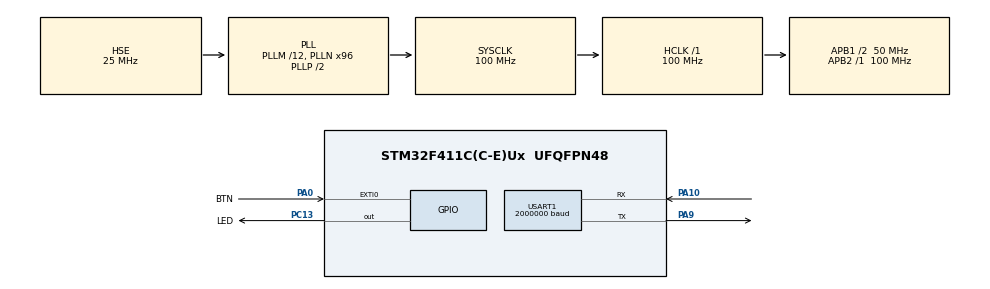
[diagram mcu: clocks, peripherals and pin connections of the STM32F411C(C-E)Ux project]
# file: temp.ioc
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ADC1.Channel-0\#ChannelRegularConversion=ADC_CHANNEL_TEMPSENSOR
ADC1.Channel-2\#ChannelRegularConversion=ADC_CHANNEL_VREFINT
ADC1.ClockPrescaler=ADC_CLOCK_SYNC_PCLK_DIV4
ADC1.ContinuousConvMode=DISABLE
ADC1.DMAContinuousRequests=ENABLE
ADC1.EOCSelection=ADC_EOC_SEQ_CONV
ADC1.ExternalTrigConv=ADC_EXTERNALTRIGCONV_T3_TRGO
ADC1.ExternalTrigConvEdge=ADC_EXTERNALTRIGCONVEDGE_FALLING
ADC1.NbrOfConversion=2
ADC1.NbrOfConversionFlag=1
ADC1.Rank-0\#ChannelRegularConversion=1
ADC1.Rank-2\#ChannelRegularConversion=2
ADC1.SamplingTime-0\#ChannelRegularConversion=ADC_SAMPLETIME_84CYCLES
ADC1.SamplingTime-2\#ChannelRegularConversion=ADC_SAMPLETIME_84CYCLES
ADC1.ScanConvMode=ENABLE
ADC1.master=1
Dma.ADC1.0.Direction=DMA_PERIPH_TO_MEMORY
Dma.ADC1.0.FIFOMode=DMA_FIFOMODE_DISABLE
Dma.ADC1.0.Instance=DMA2_Stream4
Dma.ADC1.0.MemDataAlignment=DMA_MDATAALIGN_HALFWORD
Dma.ADC1.0.MemInc=DMA_MINC_ENABLE
Dma.ADC1.0.Mode=DMA_CIRCULAR
Dma.ADC1.0.PeriphDataAlignment=DMA_PDATAALIGN_HALFWORD
Dma.ADC1.0.PeriphInc=DMA_PINC_DISABLE
Dma.ADC1.0.Priority=DMA_PRIORITY_HIGH
Dma.Request0=ADC1
Mcu.Family=STM32F4
Mcu.Name=STM32F411C(C-E)Ux
Mcu.Package=UFQFPN48
NVIC.ADC_IRQn=true\:1\:0\:true\:false\:true\:true\:true\:true
NVIC.DMA2_Stream4_IRQn=true\:0\:0\:false\:false\:true\:false\:true\:true
NVIC.EXTI0_IRQn=true\:0\:0\:false\:false\:true\:true\:true\:true
NVIC.PriorityGroup=NVIC_PRIORITYGROUP_4
NVIC.TIM3_IRQn=true\:2\:0\:true\:false\:true\:true\:true\:true
PA0-WKUP.GPIO_Label=BTN
PA0-WKUP.GPIO_ModeDefaultEXTI=GPIO_MODE_IT_FALLING
PA0-WKUP.GPIO_PuPd=GPIO_PULLUP
PA0-WKUP.Signal=GPXTI0
PA10.Mode=Asynchronous
PA10.Signal=USART1_RX
PA13.Mode=Serial_Wire
PA13.Signal=SYS_JTMS-SWDIO
PA14.Mode=Serial_Wire
PA14.Signal=SYS_JTCK-SWCLK
PA9.Mode=Asynchronous
PA9.Signal=USART1_TX
PC13-ANTI_TAMP.GPIO_Label=LED
PC13-ANTI_TAMP.GPIO_ModeDefaultOutputPP=GPIO_MODE_OUTPUT_OD
PC13-ANTI_TAMP.PinState=GPIO_PIN_SET
PC13-ANTI_TAMP.Signal=GPIO_Output
PH0\ -\ OSC_IN.Mode=HSE-External-Oscillator
PH0\ -\ OSC_IN.Signal=RCC_OSC_IN
PH1\ -\ OSC_OUT.Mode=HSE-External-Oscillator
PH1\ -\ OSC_OUT.Signal=RCC_OSC_OUT
ProjectManager.HeapSize=0x200
ProjectManager.StackSize=0x400
ProjectManager.TargetToolchain=STM32CubeIDE
RCC.48MHZClocksFreq_Value=50000000
RCC.AHBFreq_Value=100000000
RCC.APB1CLKDivider=RCC_HCLK_DIV2
RCC.APB1Freq_Value=50000000
RCC.APB1TimFreq_Value=100000000
RCC.APB2Freq_Value=100000000
RCC.APB2TimFreq_Value=100000000
RCC.CortexFreq_Value=100000000
RCC.HCLKFreq_Value=100000000
RCC.HSE_VALUE=25000000
RCC.HSI_VALUE=16000000
RCC.LSE_VALUE=32768
RCC.PLLM=12
RCC.PLLN=96
RCC.PLLSourceVirtual=RCC_PLLSOURCE_HSE
RCC.SYSCLKFreq_VALUE=100000000
RCC.SYSCLKSource=RCC_SYSCLKSOURCE_PLLCLK
RCC.VCOOutputFreq_Value=200000000
TIM3.AutoReloadPreload=TIM_AUTORELOAD_PRELOAD_ENABLE
TIM3.Period=100 - 1
TIM3.Prescaler=1000 - 1
TIM3.TIM_MasterOutputTrigger=TIM_TRGO_UPDATE
USART1.BaudRate=2000000
USART1.VirtualMode=VM_ASYNC
VP_ADC1_TempSens_Input.Mode=IN-TempSens
VP_ADC1_Vref_Input.Mode=IN-Vrefint
VP_TIM3_VS_ClockSourceINT.Mode=Internal
board=custom

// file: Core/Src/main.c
/* USER CODE BEGIN Header */
/**
 ******************************************************************************
 * @file           : main.c
 * @brief          : Main program body
 ******************************************************************************
 * @attention
 *
 * <h2><center>&copy; Copyright (c) 2025 Lars Boegild Thomsen <lbthomsen@gmail.com>
 * All rights reserved.</center></h2>
 *
 * This software component is licensed by ST under BSD 3-Clause license,
 * the "License"; You may not use this file except in compliance with the
 * License. You may obtain a copy of the License at:
 *                        opensource.org/licenses/BSD-3-Clause
 *
 ******************************************************************************
 */
/* USER CODE END Header */
#include "main.h"

/* USER CODE BEGIN PD */
#define ADC_RESOLUTION 4095
#define ADC_SAMPLES 100
/* USER CODE END PD */

ADC_HandleTypeDef hadc1;
DMA_HandleTypeDef hdma_adc1;

TIM_HandleTypeDef htim3;

UART_HandleTypeDef huart1;

/* USER CODE BEGIN PV */

uint16_t adc_buffer[ADC_SAMPLES * 2 * 2] = { 0 }; // ADC_SAMPLES samples, 2 channels, 2 buffers

uint32_t tim_cnt = 0;

uint16_t vref_avg = 0;
uint16_t temp_avg = 0;
float vdda = 0; // Result of VDDA calculation
float vref = 0; // Result of vref calculation
float temp = 0; // Result of temp calculation

/* USER CODE END PV */

void SystemClock_Config(void);
static void MX_GPIO_Init(void);
static void MX_DMA_Init(void);
static void MX_ADC1_Init(void);
static void MX_TIM3_Init(void);
static void MX_USART1_UART_Init(void);

/* USER CODE BEGIN 0 */

// Send printf to uart1
int _write(int fd, char *ptr, int len) {
    HAL_StatusTypeDef hstatus;

    if (fd == 1 || fd == 2) {
        hstatus = HAL_UART_Transmit(&huart1, (uint8_t*) ptr, len, HAL_MAX_DELAY);
        if (hstatus == HAL_OK)
            return len;
        else
            return -1;
    }
    return -1;
}

// TIM3 is used for ADC/DMA but we use the same to toggle the LED
void HAL_TIM_PeriodElapsedCallback(TIM_HandleTypeDef *htim) {
    if (htim->Instance == TIM3) {
        if (tim_cnt % 500 == 0)
            HAL_GPIO_TogglePin(LED_GPIO_Port, LED_Pin);
        tim_cnt++;
    }
}

// Process half a buffer full of data
static inline void process_adc_buffer(uint16_t *buffer) {

    uint32_t sum1 = 0, sum2 = 0;
    for (int i = 0; i < ADC_SAMPLES; ++i) {
        sum1 += buffer[i * 2];
        sum2 += buffer[1 + i * 2];
    }

    vref_avg = sum2 / ADC_SAMPLES;
    temp_avg = sum1 / ADC_SAMPLES;

    // VDDA can be calculated based on the measured vref and the calibration data
    vdda = (float) VREFINT_CAL_VREF * (float) *VREFINT_CAL_ADDR / vref_avg / 1000;

    // Knowing vdda and the resolution of adc - the actual voltage can be calculated
    vref = (float) vdda / ADC_RESOLUTION * vref_avg;
    //vref = __LL_ADC_CALC_VREFANALOG_VOLTAGE(vref_avg, ADC_RESOLUTION_12B) + 1000;

    temp = (float) ((float) ((float) (TEMPSENSOR_CAL2_TEMP - TEMPSENSOR_CAL1_TEMP)
                           / (float) (*TEMPSENSOR_CAL2_ADDR - *TEMPSENSOR_CAL1_ADDR))
                           * (temp_avg - *TEMPSENSOR_CAL1_ADDR) + TEMPSENSOR_CAL1_TEMP);
    //temp = __LL_ADC_CALC_TEMPERATURE(1000*vref, temp_avg, ADC_RESOLUTION_12B);
}

void HAL_ADC_ConvHalfCpltCallback(ADC_HandleTypeDef *hadc) {
    process_adc_buffer(&adc_buffer[0]); // We're half way through the buffer, so can safely deal with first half
}

void HAL_ADC_ConvCpltCallback(ADC_HandleTypeDef *hadc) {
    process_adc_buffer(&adc_buffer[ADC_SAMPLES * 2]); // We're all the way through the buffer, so deal with second half
}

/* USER CODE END 0 */

int main(void)
{

  /* MCU Configuration--------------------------------------------------------*/

  /* Reset of all peripherals, Initializes the Flash interface and the Systick. */
  HAL_Init();

  /* Configure the system clock */
  SystemClock_Config();

  /* Initialize all configured peripherals */
  MX_GPIO_Init();
  MX_DMA_Init();
  MX_ADC1_Init();
  MX_TIM3_Init();
  MX_USART1_UART_Init();
  /* USER CODE BEGIN 2 */

    printf("\n\nStarting\n");
    printf("VREFINT_CAL = %d (0x%04x)\n", (uint16_t) *VREFINT_CAL_ADDR, (uint16_t) *VREFINT_CAL_ADDR);
    printf("TEMP1 = %d TEMPSENSOR_CAL1 = %d (0x%04x)\n", (uint16_t) TEMPSENSOR_CAL1_TEMP, *TEMPSENSOR_CAL1_ADDR, (uint16_t) *TEMPSENSOR_CAL1_ADDR);
    printf("TEMP2 = %d TEMPSENSOR_CAL2 = %d (0x%04x)\n", (uint16_t) TEMPSENSOR_CAL2_TEMP, *TEMPSENSOR_CAL2_ADDR, (uint16_t) *TEMPSENSOR_CAL2_ADDR);

    HAL_TIM_Base_Start_IT(&htim3); // First get the timer running

    HAL_ADC_Start_DMA(&hadc1, (uint32_t*) adc_buffer, ADC_SAMPLES * 2 * 2); // Now fire up the ADC DMA

  /* USER CODE END 2 */

  /* Infinite loop */
  /* USER CODE BEGIN WHILE */

    uint32_t loop_cnt = 0, now = 0, next_tick = 1000;

    for (;;) { // Just to fuel the debate if this is better than while(1)

        now = uwTick;

        if (now >= next_tick) {

            printf("Tick %lu (loop=%lu) VDDA=%0.3f V Vref=%0.3f V (raw=%d) Temp=%0.2f °C (raw=%d)\n", now / 1000, loop_cnt, vdda, vref, vref_avg, temp, temp_avg);
            loop_cnt = 0;
            next_tick = now + 1000;
        }

        ++loop_cnt;

    /* USER CODE END WHILE */

    }
}

void SystemClock_Config(void)
{
  RCC_OscInitTypeDef RCC_OscInitStruct = {0};
  RCC_ClkInitTypeDef RCC_ClkInitStruct = {0};

  /** Configure the main internal regulator output voltage
  */
  __HAL_RCC_PWR_CLK_ENABLE();
  __HAL_PWR_VOLTAGESCALING_CONFIG(PWR_REGULATOR_VOLTAGE_SCALE1);

  /** Initializes the RCC Oscillators according to the specified parameters
  * in the RCC_OscInitTypeDef structure.
  */
  RCC_OscInitStruct.OscillatorType = RCC_OSCILLATORTYPE_HSE;
  RCC_OscInitStruct.HSEState = RCC_HSE_ON;
  RCC_OscInitStruct.PLL.PLLState = RCC_PLL_ON;
  RCC_OscInitStruct.PLL.PLLSource = RCC_PLLSOURCE_HSE;
  RCC_OscInitStruct.PLL.PLLM = 12;
  RCC_OscInitStruct.PLL.PLLN = 96;
  RCC_OscInitStruct.PLL.PLLP = RCC_PLLP_DIV2;
  RCC_OscInitStruct.PLL.PLLQ = 4;
  if (HAL_RCC_OscConfig(&RCC_OscInitStruct) != HAL_OK)
  {
    Error_Handler();
  }

  /** Initializes the CPU, AHB and APB buses clocks
  */
  RCC_ClkInitStruct.ClockType = RCC_CLOCKTYPE_HCLK|RCC_CLOCKTYPE_SYSCLK
                              |RCC_CLOCKTYPE_PCLK1|RCC_CLOCKTYPE_PCLK2;
  RCC_ClkInitStruct.SYSCLKSource = RCC_SYSCLKSOURCE_PLLCLK;
  RCC_ClkInitStruct.AHBCLKDivider = RCC_SYSCLK_DIV1;
  RCC_ClkInitStruct.APB1CLKDivider = RCC_HCLK_DIV2;
  RCC_ClkInitStruct.APB2CLKDivider = RCC_HCLK_DIV1;

  if (HAL_RCC_ClockConfig(&RCC_ClkInitStruct, FLASH_LATENCY_3) != HAL_OK)
  {
    Error_Handler();
  }
}

static void MX_ADC1_Init(void)
{

  ADC_ChannelConfTypeDef sConfig = {0};

  /** Configure the global features of the ADC (Clock, Resolution, Data Alignment and number of conversion)
  */
  hadc1.Instance = ADC1;
  hadc1.Init.ClockPrescaler = ADC_CLOCK_SYNC_PCLK_DIV4;
  hadc1.Init.Resolution = ADC_RESOLUTION_12B;
  hadc1.Init.ScanConvMode = ENABLE;
  hadc1.Init.ContinuousConvMode = DISABLE;
  hadc1.Init.DiscontinuousConvMode = DISABLE;
  hadc1.Init.ExternalTrigConvEdge = ADC_EXTERNALTRIGCONVEDGE_FALLING;
  hadc1.Init.ExternalTrigConv = ADC_EXTERNALTRIGCONV_T3_TRGO;
  hadc1.Init.DataAlign = ADC_DATAALIGN_RIGHT;
  hadc1.Init.NbrOfConversion = 2;
  hadc1.Init.DMAContinuousRequests = ENABLE;
  hadc1.Init.EOCSelection = ADC_EOC_SEQ_CONV;
  if (HAL_ADC_Init(&hadc1) != HAL_OK)
  {
    Error_Handler();
  }

  /** Configure for the selected ADC regular channel its corresponding rank in the sequencer and its sample time.
  */
  sConfig.Channel = ADC_CHANNEL_TEMPSENSOR;
  sConfig.Rank = 1;
  sConfig.SamplingTime = ADC_SAMPLETIME_84CYCLES;
  if (HAL_ADC_ConfigChannel(&hadc1, &sConfig) != HAL_OK)
  {
    Error_Handler();
  }

  /** Configure for the selected ADC regular channel its corresponding rank in the sequencer and its sample time.
  */
  sConfig.Channel = ADC_CHANNEL_VREFINT;
  sConfig.Rank = 2;
  if (HAL_ADC_ConfigChannel(&hadc1, &sConfig) != HAL_OK)
  {
    Error_Handler();
  }

}

static void MX_TIM3_Init(void)
{

  TIM_ClockConfigTypeDef sClockSourceConfig = {0};
  TIM_MasterConfigTypeDef sMasterConfig = {0};

  htim3.Instance = TIM3;
  htim3.Init.Prescaler = 1000 - 1;
  htim3.Init.CounterMode = TIM_COUNTERMODE_UP;
  htim3.Init.Period = 100 - 1;
  htim3.Init.ClockDivision = TIM_CLOCKDIVISION_DIV1;
  htim3.Init.AutoReloadPreload = TIM_AUTORELOAD_PRELOAD_ENABLE;
  if (HAL_TIM_Base_Init(&htim3) != HAL_OK)
  {
    Error_Handler();
  }
  sClockSourceConfig.ClockSource = TIM_CLOCKSOURCE_INTERNAL;
  if (HAL_TIM_ConfigClockSource(&htim3, &sClockSourceConfig) != HAL_OK)
  {
    Error_Handler();
  }
  sMasterConfig.MasterOutputTrigger = TIM_TRGO_UPDATE;
  sMasterConfig.MasterSlaveMode = TIM_MASTERSLAVEMODE_DISABLE;
  if (HAL_TIMEx_MasterConfigSynchronization(&htim3, &sMasterConfig) != HAL_OK)
  {
    Error_Handler();
  }

}

static void MX_USART1_UART_Init(void)
{

  huart1.Instance = USART1;
  huart1.Init.BaudRate = 2000000;
  huart1.Init.WordLength = UART_WORDLENGTH_8B;
  huart1.Init.StopBits = UART_STOPBITS_1;
  huart1.Init.Parity = UART_PARITY_NONE;
  huart1.Init.Mode = UART_MODE_TX_RX;
  huart1.Init.HwFlowCtl = UART_HWCONTROL_NONE;
  huart1.Init.OverSampling = UART_OVERSAMPLING_16;
  if (HAL_UART_Init(&huart1) != HAL_OK)
  {
    Error_Handler();
  }

}

static void MX_DMA_Init(void)
{

  /* DMA controller clock enable */
  __HAL_RCC_DMA2_CLK_ENABLE();

  /* DMA interrupt init */
  /* DMA2_Stream4_IRQn interrupt configuration */
  HAL_NVIC_SetPriority(DMA2_Stream4_IRQn, 0, 0);
  HAL_NVIC_EnableIRQ(DMA2_Stream4_IRQn);

}

static void MX_GPIO_Init(void)
{
  GPIO_InitTypeDef GPIO_InitStruct = {0};

  /* GPIO Ports Clock Enable */
  __HAL_RCC_GPIOC_CLK_ENABLE();
  __HAL_RCC_GPIOH_CLK_ENABLE();
  __HAL_RCC_GPIOA_CLK_ENABLE();

  /*Configure GPIO pin Output Level */
  HAL_GPIO_WritePin(LED_GPIO_Port, LED_Pin, GPIO_PIN_SET);

  /*Configure GPIO pin : LED_Pin */
  GPIO_InitStruct.Pin = LED_Pin;
  GPIO_InitStruct.Mode = GPIO_MODE_OUTPUT_OD;
  GPIO_InitStruct.Pull = GPIO_NOPULL;
  GPIO_InitStruct.Speed = GPIO_SPEED_FREQ_LOW;
  HAL_GPIO_Init(LED_GPIO_Port, &GPIO_InitStruct);

  /*Configure GPIO pin : BTN_Pin */
  GPIO_InitStruct.Pin = BTN_Pin;
  GPIO_InitStruct.Mode = GPIO_MODE_IT_FALLING;
  GPIO_InitStruct.Pull = GPIO_PULLUP;
  HAL_GPIO_Init(BTN_GPIO_Port, &GPIO_InitStruct);

  /* EXTI interrupt init*/
  HAL_NVIC_SetPriority(EXTI0_IRQn, 0, 0);
  HAL_NVIC_EnableIRQ(EXTI0_IRQn);

}

void Error_Handler(void)
{
    __disable_irq();
    while (1) {
    }
}
